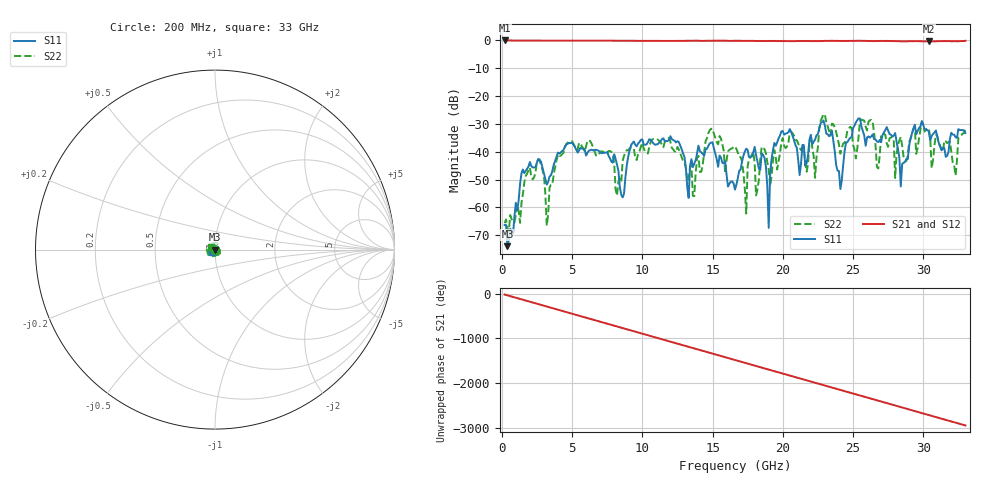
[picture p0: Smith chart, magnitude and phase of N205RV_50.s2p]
# GHZ S RI R 50
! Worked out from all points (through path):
!   329 points, 200 MHz to 33 GHz, reference 50 ohm
!   highest |S21| = -0.02 dB at 200 MHz (marker M1); lowest = -0.4 dB at 30.4 GHz (marker M2)
!   group delay of S21, straight-line fit = 248 ps
!   lowest |S11| = -73.9 dB at 400 MHz (marker M3), VSWR 1.00, Z = 50 + j0.0101 ohm
!   |S11| at or under -10 dB: start of sweep to end of sweep
!   |S22| runs from -68.6 to -26.4 dB; largest |S21 - S12| = 0.0019
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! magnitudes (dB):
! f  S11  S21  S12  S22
! 200 MHz  -66.3  0.0  0.0  -65.7
! 400 MHz  -73.9  0.0  0.0  -67.4
! 1.5 GHz  -46.4  -0.1  -0.1  -55.3
! 2.7 GHz  -42.8  -0.1  -0.1  -43.4
! 3.2 GHz  -51.8  -0.1  -0.1  -66.5
! 5.7 GHz  -38.9  -0.1  -0.1  -38.0
! 8.6 GHz  -56.4  -0.1  -0.1  -43.3
! 11.2 GHz  -36.7  -0.2  -0.2  -36.1
! 13.7 GHz  -44.3  -0.1  -0.1  -56.0
! 14.8 GHz  -37.0  -0.1  -0.1  -32.2
! 16.6 GHz  -53.6  -0.1  -0.1  -38.1
! 17.4 GHz  -38.9  -0.1  -0.1  -62.2
! 18.7 GHz  -42.2  -0.2  -0.2  -39.1
! 19 GHz  -67.3  -0.2  -0.2  -46.3
! 19.4 GHz  -36.8  -0.2  -0.2  -39.4
! 22.1 GHz  -37.3  -0.3  -0.2  -38.4
! 24.1 GHz  -53.4  -0.2  -0.2  -40.7
! 25.4 GHz  -28.0  -0.1  -0.1  -34.5
! 27.6 GHz  -33.7  -0.2  -0.2  -35.1
! 28.4 GHz  -52.5  -0.3  -0.3  -34.7
! 30.4 GHz  -32.7  -0.4  -0.4  -31.6
! 33 GHz  -33.3  -0.2  -0.2  -32.0
